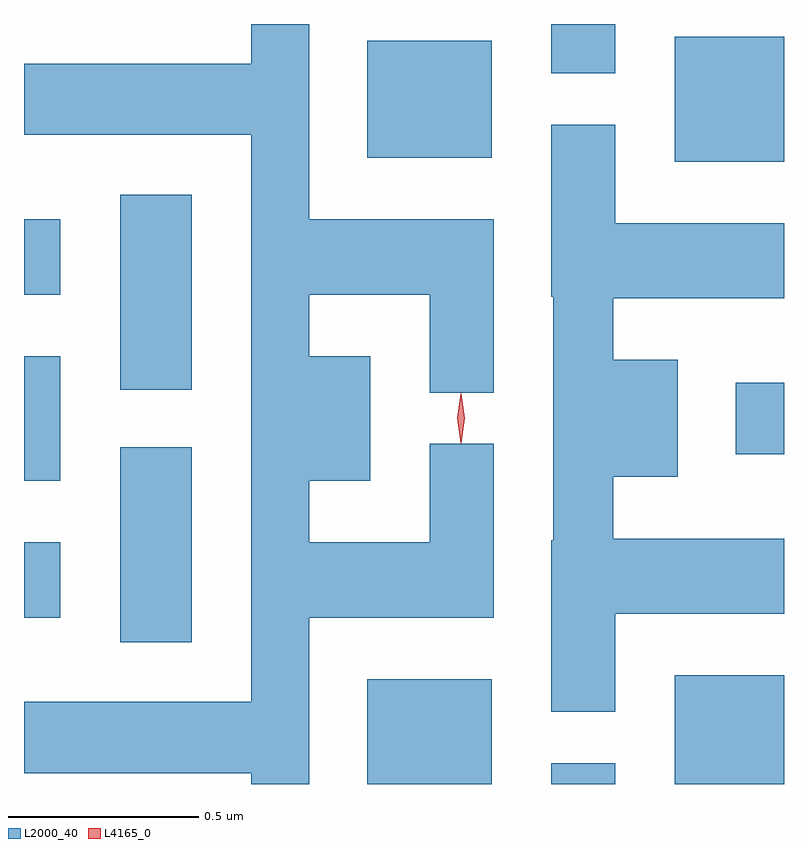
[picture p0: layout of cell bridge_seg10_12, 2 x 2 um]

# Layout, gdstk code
import gdstk
lib = gdstk.Library(unit=1e-6, precision=1e-09)
def R(c, l, rs):  # rectangles x0, y0, x1, y1
    for r in rs: c.add(gdstk.rectangle(r[:2], r[2:], *l))
def P(c, l, *ps):  # polygons
    for p in ps: c.add(gdstk.Polygon(p, *l))
L2000_40 = (2000, 40)
L4165_0 = (4165, 0)

bridge_seg10_12 = lib.new_cell('bridge_seg10_12')
R(bridge_seg10_12, L2000_40, [(1912.546,2173.248,1912.874,2173.524), (1913.031,2173.248,1913.199,2173.303), (1913.356,2173.248,1913.643,2173.534), (1911.896,2173.621,1912.084,2174.134), (1911.643,2173.686,1911.739,2173.884), (1911.643,2174.046,1911.739,2174.374), (1913.516,2174.116,1913.643,2174.304), (1911.896,2174.286,1912.084,2174.799), (1911.643,2174.536,1911.739,2174.734), (1913.356,2174.886,1913.643,2175.214), (1912.546,2174.896,1912.874,2175.204), (1913.031,2175.118,1913.199,2175.248)])
P(bridge_seg10_12, L2000_40, [(1912.394,2173.686),(1912.879,2173.686),(1912.879,2174.143),(1912.711,2174.143),(1912.711,2173.884),(1912.394,2173.884),(1912.394,2174.046),(1912.554,2174.046),(1912.554,2174.374),(1912.394,2174.374),(1912.394,2174.536),(1912.711,2174.536),(1912.711,2174.278),(1912.879,2174.278),(1912.879,2174.734),(1912.394,2174.734),(1912.394,2175.248),(1912.241,2175.248),(1912.241,2175.144),(1911.643,2175.144),(1911.643,2174.956),(1912.241,2174.956),(1912.241,2173.464),(1911.643,2173.464),(1911.643,2173.276),(1912.241,2173.276),(1912.241,2173.248),(1912.394,2173.248)],
  [(1913.199,2173.696),(1913.643,2173.696),(1913.643,2173.894),(1913.194,2173.894),(1913.194,2174.056),(1913.364,2174.056),(1913.364,2174.364),(1913.194,2174.364),(1913.194,2174.526),(1913.643,2174.526),(1913.643,2174.724),(1913.199,2174.724),(1913.199,2174.983),(1913.031,2174.983),(1913.031,2174.53),(1913.036,2174.53),(1913.036,2173.89),(1913.031,2173.89),(1913.031,2173.438),(1913.199,2173.438)])
P(bridge_seg10_12, L4165_0, [(1912.793,2174.144),(1912.792,2174.145),(1912.783,2174.21),(1912.792,2174.275),(1912.793,2174.276),(1912.793,2174.275),(1912.803,2174.21),(1912.793,2174.145)])

lib.write_gds('bridge_seg10_12.gds')
